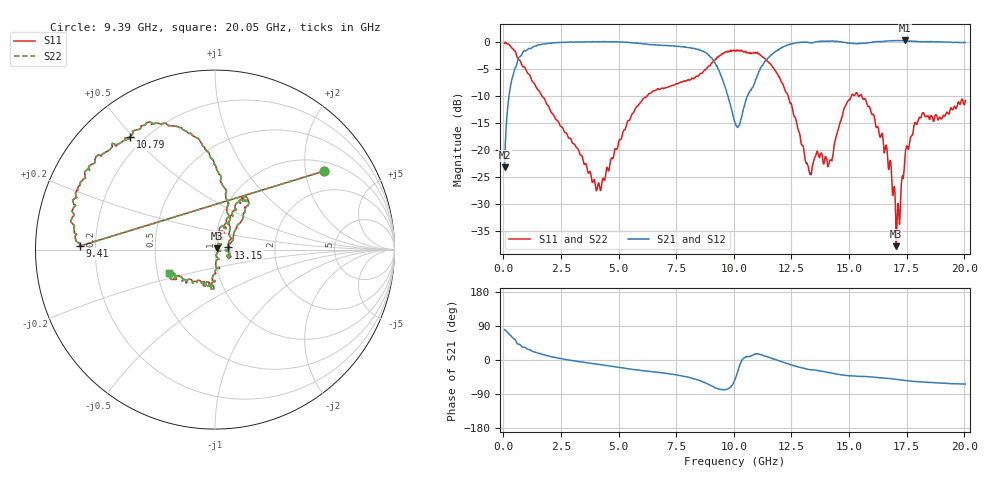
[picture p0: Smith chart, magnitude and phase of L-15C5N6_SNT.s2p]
#	mhz	s	ma	r	50
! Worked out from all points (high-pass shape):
!   1001 points, 50 MHz to 20.05 GHz, reference 50 ohm
!   highest |S21| = 0.31 dB at 17.43 GHz (marker M1); lowest = -23.2 dB at 50 MHz (marker M2)
!   |S21| within 3 dB of the highest: 708.4 MHz to 8.966 GHz (8.258 GHz wide, 171 % of centre); 11.54 GHz to end of sweep
!   lowest |S11| = -37.9 dB at 17.05 GHz (marker M3), VSWR 1.03, Z = 51.1 + j0.739 ohm
!   |S11| at or under -10 dB: 1.669 GHz to 6.236 GHz (4.567 GHz wide, 116 % of centre); 12.35 GHz to 15.1 GHz (2.748 GHz wide, 20 % of centre); 15.55 GHz to end of sweep (the widest 3 of 4)
!   |S22| runs from -37.9 to 0.0 dB; largest |S21 - S12| = 0
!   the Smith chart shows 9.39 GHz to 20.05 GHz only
!   S11 on the Smith chart (normalised r, x): 9.39 GHz: 1.27, +2.53; 9.41 GHz: 0.14, +0.01; 10.79 GHz: 0.15, +0.49; 13.15 GHz: 1.16, +0.03; 20.05 GHz: 0.58, -0.17
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50  0.9714 175.5  0.06904 79.7  0.06904 79.7  0.9714 175.5
310  0.9091 155.8  0.3928 64.5  0.3928 64.5  0.9091 155.8
750  0.6504 129.2  0.7373 38.7  0.7373 38.7  0.6504 129.2
1670  0.3159 100.5  0.9551 15.1  0.9551 15.1  0.3159 100.5
3390  0.08854 54.7  1.002 -5.3  1.002 -5.3  0.08854 54.7
4150  0.04844 -17.9  1.005 -11.7  1.005 -11.7  0.04844 -17.9
6730  0.3668 -115.6  0.9356 -32.7  0.9356 -32.7  0.3668 -115.6
8530  0.506 -143.6  0.8401 -54.4  0.8401 -54.4  0.506 -143.6
9390  0.7487 35.8  0.5203 -77.1  0.5203 -77.1  0.7487 35.8
9410  0.7527 178.5  0.5084 -77.5  0.5084 -77.5  0.7527 178.5
10050  0.839 153.7  0.1798 -51.3  0.1798 -51.3  0.839 153.7
10790  0.7869 126.9  0.3751 11.6  0.3751 11.6  0.7869 126.9
12070  0.4218 87.2  0.8868 -4.6  0.8868 -4.6  0.4218 87.2
13150  0.07446 9.2  1.001 -23.7  1.001 -23.7  0.07446 9.2
13390  0.06623 -3.5  0.9849 -25.5  0.9849 -25.5  0.06623 -3.5
14170  0.08047 6.2  1.02 -33.7  1.02 -33.7  0.08047 6.2
15250  0.3238 56.6  0.9695 -42.4  0.9695 -42.4  0.3238 56.6
16730  0.0656 57.0  1.027 -48.9  1.027 -48.9  0.0656 57.0
17050  0.01273 34.7  1.031 -51.1  1.031 -51.1  0.01273 34.7
17430  0.08663 -87.6  1.036 -53.9  1.036 -53.9  0.08663 -87.6
18150  0.2095 -96.4  1.012 -57.9  1.012 -57.9  0.2095 -96.4
20050  0.2875 -152.5  0.9908 -63.4  0.9908 -63.4  0.2875 -152.5
